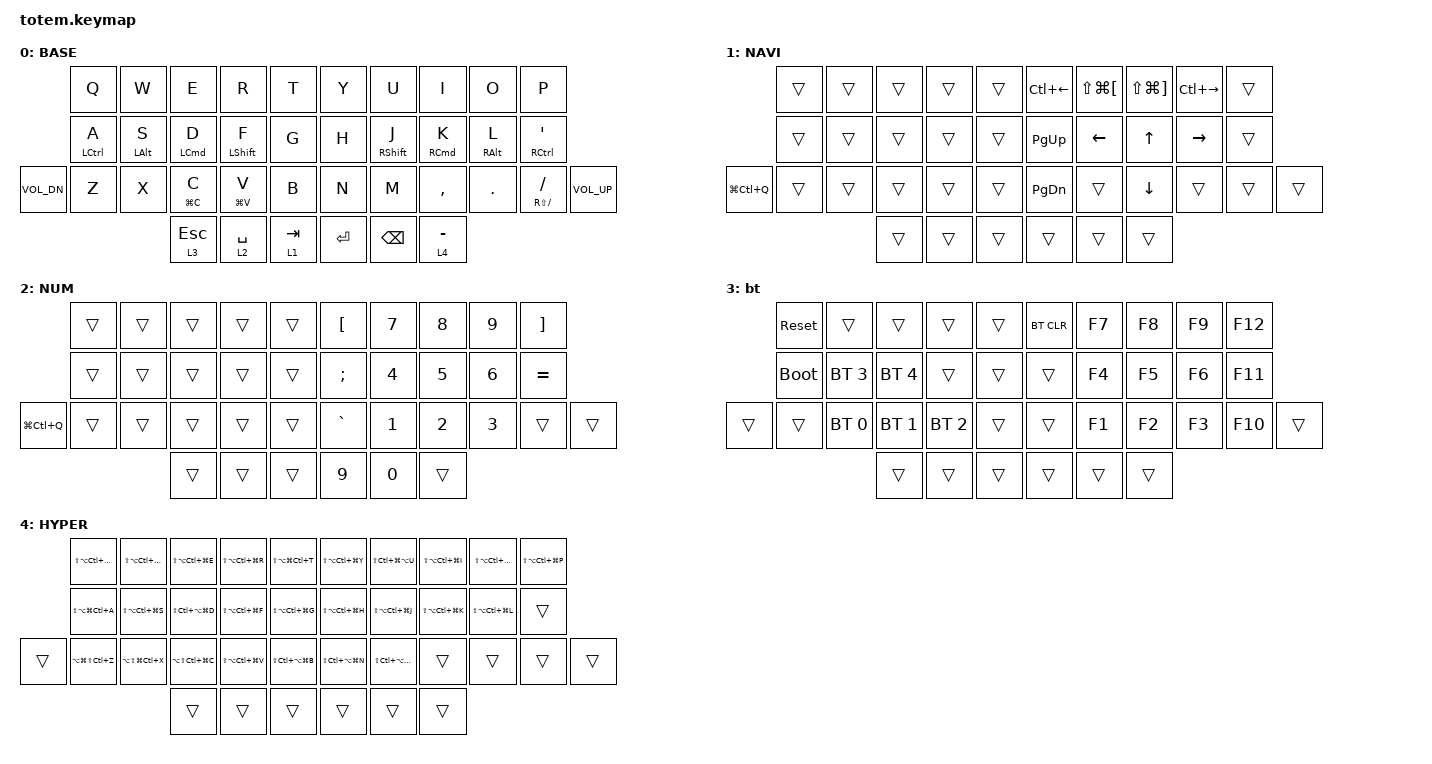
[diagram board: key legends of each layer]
//
//                                                        ▀▀▀▀▀     ▀▀▀▀▀          ▀▀█▀▀
//                                                        ▄▀▀▀▄  ▄  ▄▀▀▀▄  ▄  ▄▀▀▀▄  █  ▄▀▀▀▄
//                                                        █   █  █  █   █  █  █   █  █  █   █
//                                                         ▀▀▀   █   ▀▀▀   █   ▀▀▀   ▀   ▀▀▀
//                                                               █      ▄▄▄█▄▄▄    █   █  
//                                                               ▀      █  █  █     █▄█
//                                                             ▀▀▀▀▀    █  █  █      ▀
//                                                                      ▀  ▀  ▀
//
// ▄▄▄▄▄▄▄▄▄▄▄▄▄▄▄▄▄▄▄▄▄▄▄▄▄▄▄▄▄▄▄▄▄▄▄▄▄▄▄▄▄▄▄▄▄▄▄▄▄▄▄▄▄▄▄▄▄▄▄▄▄▄▄▄▄▄▄▄▄▄▄▄▄▄▄▄▄▄▄▄▄▄▄▄▄▄▄▄▄▄▄▄▄▄▄▄▄▄▄▄▄▄▄▄▄▄▄▄▄▄▄▄▄▄▄▄▄▄▄▄▄▄▄▄▄▄▄▄▄▄▄▄▄▄▄▄▄▄▄▄▄▄▄▄▄▄▄▄▄

#include <behaviors.dtsi>
#include <dt-bindings/zmk/bt.h>
#include <dt-bindings/zmk/keys.h>

#define BASE 0
#define NAV  1
#define SYM  2
#define ADJ  3
#define TVP1 4
#define TVP2 5

&mt {
    quick-tap-ms = <100>;
    global-quick-tap;
    flavor = "tap-preferred";
    tapping-term-ms = <170>;
};

/ {
    combos {
        compatible = "zmk,combos";

        next_tab {
            timeout-ms = <50>;
            key-positions = <7 8>;
            bindings = <&kp LG(LS(RIGHT_BRACKET))>;
        };

        prev_tab {
            bindings = <&kp LG(LS(LEFT_BRACKET))>;
            key-positions = <7 6>;
            timeout-ms = <50>;
        };

        clippy {
            bindings = <&kp LG(LA(V))>;
            key-positions = <23 24>;
            timeout-ms = <50>;
        };

        save {
            bindings = <&kp LG(S)>;
            key-positions = <12 11>;
            timeout-ms = <50>;
        };
    };

    macros {
        gif: gif {
            label = "giphy";
            compatible = "zmk,behavior-macro";
            #binding-cells = <0>;
            bindings =
                <&macro_press>,
                <&kp LSHFT>,
                <&macro_tap>,
                <&kp N2>,
                <&macro_release>,
                <&kp LSHFT>,
                <&macro_tap>,
                <&kp G &kp I &kp F>;
        };
    };

    keymap {
        compatible = "zmk,keymap";

        // ▄▄▄▄▄▄▄▄▄▄▄▄▄▄▄▄▄▄▄▄▄▄▄▄▄▄▄▄▄▄▄▄▄▄▄▄▄▄▄▄▄▄▄▄▄▄▄▄▄▄▄▄▄▄▄▄▄▄▄▄▄▄▄▄▄▄▄▄▄▄▄▄▄▄▄▄▄▄▄▄▄▄▄▄▄▄▄▄▄▄▄▄▄▄▄▄▄▄▄▄▄▄▄▄▄▄▄▄▄▄▄▄▄▄▄▄▄▄▄▄▄▄▄▄▄▄▄▄▄▄▄▄▄▄▄▄▄▄▄▄▄▄▄▄▄▄▄▄▄

        base_layer {
            // ┏━━━━━━━━━━━━━━━━━━━━━━━━━━━━━━━━━━━━━━━┓

            label = "BASE";

            // ┗━━━━━━━━━━━━━━━━━━━━━━━━━━━━━━━━━━━━━━━┛
            //             ┏━━━━━━━━━━━┳━━━━━━━━━━━┳━━━━━━━━━━━┳━━━━━━━━━━━┳━━━━━━━━━━━┓   ┏━━━━━━━━━━━┳━━━━━━━━━━━┳━━━━━━━━━━━┳━━━━━━━━━━━┳━━━━━━━━━━━┓
            //             ┃     Q     ┃     W     ┃     F     ┃     P     ┃     G     ┃   ┃     J     ┃     L     ┃     U     ┃     Y     ┃     ;     ┃
            //             ┣━━━━━━━━━━━╋━━━━━━━━━━━╋━━━━━━━━━━━╋━━━━━━━━━━━╋━━━━━━━━━━━┫   ┣━━━━━━━━━━━╋━━━━━━━━━━━╋━━━━━━━━━━━╋━━━━━━━━━━━╋━━━━━━━━━━━┫
            //             ┃     A     ┃     R     ┃     S     ┃     T     ┃     D     ┃   ┃     H     ┃     N     ┃     E     ┃     I     ┃     O     ┃
            // ┏━━━━━━━━━━━╋━━━━━━━━━━━╋━━━━━━━━━━━╋━━━━━━━━━━━╋━━━━━━━━━━━╋━━━━━━━━━━━┫   ┣━━━━━━━━━━━╋━━━━━━━━━━━╋━━━━━━━━━━━╋━━━━━━━━━━━╋━━━━━━━━━━━╋━━━━━━━━━━━┓
            // ┃     Q     ┃     Z     ┃     X     ┃     C     ┃     V     ┃     B     ┃   ┃     K     ┃     M     ┃     ,     ┃     .     ┃     /     ┃     \     ┃
            // ┗━━━━━━━━━━━┻━━━━━━━━━━━┻━━━━━━━━━━━╋━━━━━━━━━━━╋━━━━━━━━━━━╋━━━━━━━━━━━┫   ┣━━━━━━━━━━━╋━━━━━━━━━━━╋━━━━━━━━━━━╋━━━━━━━━━━━┻━━━━━━━━━━━┻━━━━━━━━━━━┛
            //                                     ┃    DEL    ┃    TAB    ┃    SPC    ┃   ┃   ENTER   ┃           ┃   BSPC    ┃
            //                                     ┗━━━━━━━━━━━┻━━━━━━━━━━━┻━━━━━━━━━━━┛   ┗━━━━━━━━━━━┻━━━━━━━━━━━┻━━━━━━━━━━━┛

            bindings = <
              &kp Q               &kp W       &kp E               &kp R        &kp T        &kp Y      &kp U          &kp I                &kp O       &kp P
              &mt LEFT_CONTROL A  &mt LALT S  &mt LEFT_COMMAND D  &mt LSHFT F  &kp G        &kp H      &mt RSHFT J    &mt RIGHT_COMMAND K  &mt RALT L  &mt RIGHT_CONTROL SQT
&kp C_VOL_DN  &kp Z               &kp X       &mt LG(C) C         &mt LG(V) V  &kp B        &kp N      &kp M          &kp COMMA            &kp DOT     &mt RS(FSLH) SLASH     &kp C_VOL_UP
                                              &lt 3 ESCAPE        &lt 2 SPACE  &lt 1 TAB    &kp ENTER  &kp BACKSPACE  &lt 4 MINUS
            >;
        };

        nav_layer {
            // ┏━━━━━━━━━━━━━━━━━━━━━━━━━━━━━━━━━━━━━━━┓

            label = "NAVI";

            // ┗━━━━━━━━━━━━━━━━━━━━━━━━━━━━━━━━━━━━━━━┛
            //             ┏━━━━━━━━━━━┳━━━━━━━━━━━┳━━━━━━━━━━━┳━━━━━━━━━━━┳━━━━━━━━━━━┓   ┏━━━━━━━━━━━┳━━━━━━━━━━━┳━━━━━━━━━━━┳━━━━━━━━━━━┳━━━━━━━━━━━┓
            //             ┃           ┃           ┃     UP    ┃           ┃     {     ┃   ┃     }     ┃     7     ┃     8     ┃     9     ┃     +     ┃
            //             ┣━━━━━━━━━━━╋━━━━━━━━━━━╋━━━━━━━━━━━╋━━━━━━━━━━━╋━━━━━━━━━━━┫   ┣━━━━━━━━━━━╋━━━━━━━━━━━╋━━━━━━━━━━━╋━━━━━━━━━━━╋━━━━━━━━━━━┫
            //             ┃   SHIFT   ┃   LEFT    ┃    DOWN   ┃   RIGHT   ┃     [     ┃   ┃     ]     ┃     4     ┃     5     ┃     6     ┃     -     ┃
            // ┏━━━━━━━━━━━╋━━━━━━━━━━━╋━━━━━━━━━━━╋━━━━━━━━━━━╋━━━━━━━━━━━╋━━━━━━━━━━━┫   ┣━━━━━━━━━━━╋━━━━━━━━━━━╋━━━━━━━━━━━╋━━━━━━━━━━━╋━━━━━━━━━━━╋━━━━━━━━━━━┓
            // ┃           ┃           ┃   P UP    ┃  C LOCK   ┃  P DOWN   ┃     (     ┃   ┃     )     ┃     1     ┃     2     ┃     3     ┃     *     ┃           ┃
            // ┗━━━━━━━━━━━┻━━━━━━━━━━━┻━━━━━━━━━━━╋━━━━━━━━━━━╋━━━━━━━━━━━╋━━━━━━━━━━━┫   ┣━━━━━━━━━━━╋━━━━━━━━━━━╋━━━━━━━━━━━╋━━━━━━━━━━━┻━━━━━━━━━━━┻━━━━━━━━━━━┛
            //                                     ┃           ┃    TAB    ┃    SPC    ┃   ┃    DEL    ┃     0     ┃           ┃
            //                                     ┗━━━━━━━━━━━┻━━━━━━━━━━━┻━━━━━━━━━━━┛   ┗━━━━━━━━━━━┻━━━━━━━━━━━┻━━━━━━━━━━━┛

            bindings = <
               &trans  &trans  &trans  &trans  &trans    &kp LC(LEFT_ARROW)  &kp LS(LG(LEFT_BRACKET))  &kp LS(LG(RIGHT_BRACKET))  &kp LC(RIGHT_ARROW)  &trans
               &trans  &trans  &trans  &trans  &trans    &kp PAGE_UP         &kp LEFT                  &kp UP_ARROW               &kp RIGHT_ARROW      &trans
&kp LG(LC(Q))  &trans  &trans  &trans  &trans  &trans    &kp PAGE_DOWN       &trans                    &kp DOWN                   &trans               &trans  &trans
                               &trans  &trans  &trans    &trans              &trans                    &trans
            >;
        };

        num_layer {
            label = "NUM";
            bindings = <
               &trans  &trans  &trans  &trans  &trans    &kp LEFT_BRACKET  &kp N7        &kp N8        &kp N9        &kp RIGHT_BRACKET
               &trans  &trans  &trans  &trans  &trans    &kp SEMICOLON     &kp NUMBER_4  &kp N5        &kp NUMBER_6  &kp EQUAL
&kp LG(LC(Q))  &trans  &trans  &trans  &trans  &trans    &kp GRAVE         &kp NUMBER_1  &kp NUMBER_2  &kp NUMBER_3  &trans             &trans
                               &trans  &trans  &trans    &kp N9            &kp N0        &trans
            >;
        };

        bt_layer {
            // ┏━━━━━━━━━━━━━━━━━━━━━━━━━━━━━━━━━━━━━━━┓

            label = "bt";

            // ┗━━━━━━━━━━━━━━━━━━━━━━━━━━━━━━━━━━━━━━━┛
            //             ┏━━━━━━━━━━━┳━━━━━━━━━━━┳━━━━━━━━━━━┳━━━━━━━━━━━┳━━━━━━━━━━━┓   ┏━━━━━━━━━━━┳━━━━━━━━━━━┳━━━━━━━━━━━┳━━━━━━━━━━━┳━━━━━━━━━━━┓
            //             ┃   RESET   ┃ BT CLEAR  ┃  OUT TOG  ┃           ┃           ┃   ┃           ┃    F7     ┃    F8     ┃    F9     ┃    F12    ┃
            //             ┣━━━━━━━━━━━╋━━━━━━━━━━━╋━━━━━━━━━━━╋━━━━━━━━━━━╋━━━━━━━━━━━┫   ┣━━━━━━━━━━━╋━━━━━━━━━━━╋━━━━━━━━━━━╋━━━━━━━━━━━╋━━━━━━━━━━━┫
            //             ┃ BOOTLOAD  ┃ BT NEXT   ┃           ┃           ┃           ┃   ┃           ┃    F4     ┃    F5     ┃    F6     ┃    F11    ┃
            // ┏━━━━━━━━━━━╋━━━━━━━━━━━╋━━━━━━━━━━━╋━━━━━━━━━━━╋━━━━━━━━━━━╋━━━━━━━━━━━┫   ┣━━━━━━━━━━━╋━━━━━━━━━━━╋━━━━━━━━━━━╋━━━━━━━━━━━╋━━━━━━━━━━━╋━━━━━━━━━━━┓
            // ┃           ┃           ┃ BT PREV   ┃           ┃           ┃           ┃   ┃           ┃    F1     ┃    F2     ┃    F3     ┃    F10    ┃           ┃
            // ┗━━━━━━━━━━━┻━━━━━━━━━━━┻━━━━━━━━━━━╋━━━━━━━━━━━╋━━━━━━━━━━━╋━━━━━━━━━━━┫   ┣━━━━━━━━━━━╋━━━━━━━━━━━╋━━━━━━━━━━━╋━━━━━━━━━━━┻━━━━━━━━━━━┻━━━━━━━━━━━┛
            //                                     ┃           ┃           ┃           ┃   ┃           ┃           ┃           ┃
            //                                     ┗━━━━━━━━━━━┻━━━━━━━━━━━┻━━━━━━━━━━━┛   ┗━━━━━━━━━━━┻━━━━━━━━━━━┻━━━━━━━━━━━┛

            bindings = <
        &sys_reset   &trans        &trans        &trans        &trans    &bt BT_CLR  &kp F7  &kp F8  &kp F9  &kp F12
        &bootloader  &bt BT_SEL 3  &bt BT_SEL 4  &trans        &trans    &trans      &kp F4  &kp F5  &kp F6  &kp F11
&trans  &trans       &bt BT_SEL 0  &bt BT_SEL 1  &bt BT_SEL 2  &trans    &trans      &kp F1  &kp F2  &kp F3  &kp F10  &trans
                                   &trans        &trans        &trans    &trans      &trans  &trans
            >;
        };

        hyper_layer {
            label = "HYPER";
            bindings = <
        &kp LS(LA(LC(LG(Q))))  &kp LS(LA(LC(LG(W))))  &kp LS(LA(LC(LG(E))))  &kp LS(LA(LC(LG(R))))  &kp LS(LA(LG(LC(T))))    &kp LS(LA(LC(LG(Y))))  &kp LS(LC(LG(LA(U))))  &kp LS(LA(LC(LG(I))))  &kp LS(LA(LC(LG(O))))  &kp LS(LA(LC(LG(P))))
        &kp LS(LA(LG(LC(A))))  &kp LS(LA(LC(LG(S))))  &kp LS(LC(LA(LG(D))))  &kp LS(LA(LC(LG(F))))  &kp LS(LA(LC(LG(G))))    &kp LS(LA(LC(LG(H))))  &kp LS(LA(LC(LG(J))))  &kp LS(LA(LC(LG(K))))  &kp LS(LA(LC(LG(L))))  &trans
&trans  &kp LA(LG(LS(LC(Z))))  &kp LA(LS(LG(LC(X))))  &kp LA(LS(LC(LG(C))))  &kp LS(LA(LC(LG(V))))  &kp LS(LC(LA(LG(B))))    &kp LS(LC(LA(LG(N))))  &kp LS(LC(LA(LG(M))))  &trans                 &trans                 &trans                 &trans
                                                      &trans                 &trans                 &trans                   &trans                 &trans                 &trans
            >;
        };
    };
};
